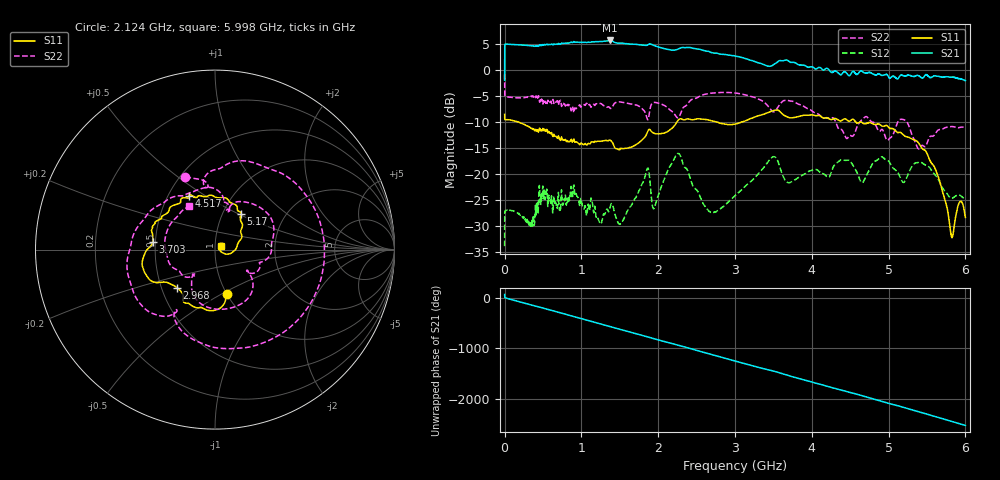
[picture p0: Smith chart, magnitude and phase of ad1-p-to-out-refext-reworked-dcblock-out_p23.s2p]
!  1/12/2021  23:20:22
! Ref Plane: 213.526 mm
# MHZ S MA R  50
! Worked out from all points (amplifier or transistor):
!   10001 points, 300 kHz to 6 GHz, reference 50 ohm
!   highest |S21| = 5.8 dB at 1.372 GHz (marker M1)
!   |S21| within 3 dB of that: 830.5 kHz to 3.003 GHz (3.002 GHz wide, 200 % of centre)
!   unconditionally stable (mu >= 1): start of sweep to end of sweep
!   at 999.9 MHz: K = 3.69, MAG = 6.7 dB, |S12| = -25.2 dB
!   at 3 GHz: K = 3.27, MAG = 5.5 dB, |S12| = -24.2 dB
!   at 6 GHz: K = 10.23, MAG = -1.6 dB, |S12| = -24.9 dB
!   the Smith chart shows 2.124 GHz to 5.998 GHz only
!   S11 on the Smith chart (normalised r, x): 2.124 GHz: 1.00, -0.53; 2.968 GHz: 0.60, -0.28; 3.703 GHz: 0.48, +0.05; 4.517 GHz: 0.63, +0.43; 5.17 GHz: 1.22, +0.52; 5.998 GHz: 1.07, +0.04
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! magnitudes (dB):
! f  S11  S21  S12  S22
! 300 kHz  -8.5  -1.9  -33.9  -0.7
! 473.7 MHz  -11.5  4.8  -24.4  -5.7
! 1 GHz  -14.1  5.4  -25.2  -6.9
! 1.372 GHz  -13.4  5.8  -26.5  -7.3
! 1.518 GHz  -15.1  5.3  -29.5  -6.1
! 1.857 GHz  -12.0  4.9  -19.0  -9.3
! 2.001 GHz  -12.3  4.5  -24.1  -6.3
! 2.124 GHz  -11.8  4.0  -19.4  -7.2
! 2.272 GHz  -9.5  4.2  -16.1  -9.0
! 2.684 GHz  -9.7  3.5  -27.4  -4.4
! 2.968 GHz  -10.5  2.8  -24.7  -4.3
! 3 GHz  -10.4  2.8  -24.2  -4.4
! 3.496 GHz  -7.8  1.0  -16.7  -8.0
! 3.703 GHz  -9.1  1.7  -21.7  -5.9
! 4 GHz  -8.6  0.7  -19.3  -7.8
! 4.517 GHz  -9.5  -0.5  -17.9  -12.7
! 5 GHz  -11.0  -1.3  -17.5  -13.3
! 5.17 GHz  -12.2  -0.9  -21.3  -9.4
! 5.599 GHz  -18.7  -1.0  -20.1  -12.4
! 5.821 GHz  -32.2  -1.3  -24.7  -10.8
! 5.998 GHz  -28.1  -2.0  -24.9  -11.0
! 6 GHz  -28.4  -2.0  -24.9  -11.0
